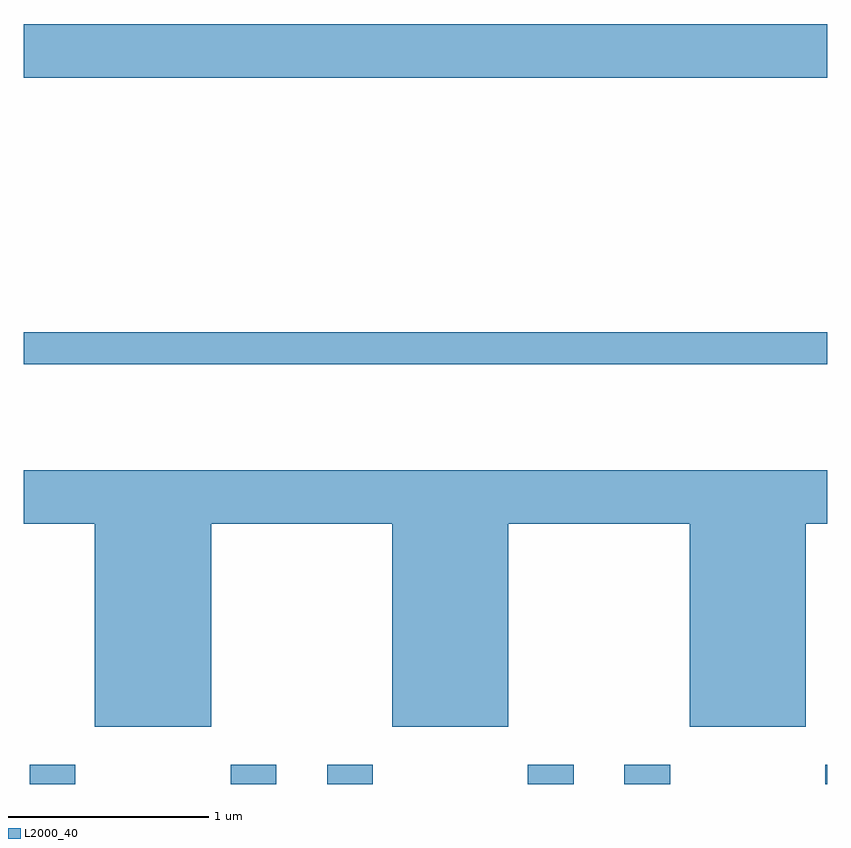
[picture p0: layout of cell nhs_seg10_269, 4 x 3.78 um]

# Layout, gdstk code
import gdstk
lib = gdstk.Library(unit=1e-6, precision=1e-09)
def R(c, l, rs):  # rectangles x0, y0, x1, y1
    for r in rs: c.add(gdstk.rectangle(r[:2], r[2:], *l))
def P(c, l, *ps):  # polygons
    for p in ps: c.add(gdstk.Polygon(p, *l))
L2000_40 = (2000, 40)

nhs_seg10_269 = lib.new_cell('nhs_seg10_269')
R(nhs_seg10_269, L2000_40, [(191.641,2212.522,191.869,2212.619), (192.641,2212.522,192.869,2212.619), (193.121,2212.522,193.349,2212.619), (194.121,2212.522,194.349,2212.619), (194.601,2212.522,194.829,2212.619), (195.601,2212.522,195.611,2212.619), (191.611,2214.611,195.611,2214.769), (191.611,2216.036,195.611,2216.304)])
P(nhs_seg10_269, L2000_40, [(192.544,2213.816),(193.446,2213.816),(193.446,2212.806),(194.024,2212.806),(194.024,2213.816),(194.926,2213.816),(194.926,2212.806),(195.504,2212.806),(195.504,2213.816),(195.611,2213.816),(195.611,2214.084),(191.611,2214.084),(191.611,2213.816),(191.966,2213.816),(191.966,2212.806),(192.544,2212.806)])

lib.write_gds('nhs_seg10_269.gds')
